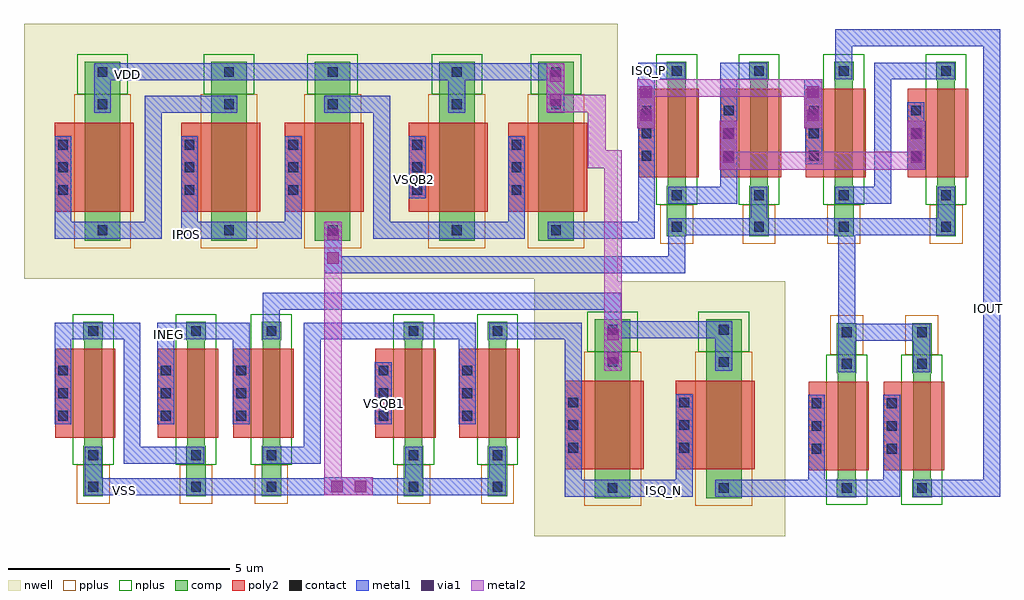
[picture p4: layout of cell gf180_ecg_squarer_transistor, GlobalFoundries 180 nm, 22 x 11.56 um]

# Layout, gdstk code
from math import pi, radians
import gdstk
lib = gdstk.Library(unit=1e-6, precision=1e-09)
def R(c, l, rs):  # rectangles x0, y0, x1, y1
    for r in rs: c.add(gdstk.rectangle(r[:2], r[2:], *l))
def A(c, l, x, y, w, h, nx, ny, dx, dy):  # array of equal rectangles
    R(c, l, [(x+i*dx, y+j*dy, x+i*dx+w, y+j*dy+h) for i in range(nx) for j in range(ny)])
def P(c, l, *ps):  # polygons
    for p in ps: c.add(gdstk.Polygon(p, *l))
nwell = (21, 0)
comp = (22, 0)
poly2 = (30, 0)
pplus = (31, 0)
nplus = (32, 0)
contact = (33, 0)
metal1 = (34, 0)
via1 = (35, 0)
metal2 = (36, 0)

pfet_10 = lib.new_cell('pfet$10')
R(pfet_10, nwell, [(-1.32,-0.99,4.43,2.17)])
R(pfet_10, comp, [(-0.46,0,3.57,0.8)])
R(pfet_10, poly2, [(0.19,-0.3,2.19,1.48)])
R(pfet_10, pplus, [(-0.63,-0.24,2.84,1.04)])
R(pfet_10, nplus, [(2.84,-0.17,3.74,0.97)])
A(pfet_10, contact, 0.57, 1.18, 0.22, 0.22, 3, 1, 0.51, 0)
R(pfet_10, contact, [(-0.34,0.29,-0.12,0.51), (2.5,0.29,2.72,0.51), (3.23,0.29,3.45,0.51)])
R(pfet_10, metal1, [(-0.42,0.21,-0.04,0.59), (2.42,0.21,2.8,0.59), (3.15,0.21,3.53,0.59), (0.49,1.1,1.89,1.48)])

nfet_8 = lib.new_cell('nfet$8')
P(nfet_8, comp, [(-0.42,-0.02),(-0.42,0.42),(0,0.42),(0,0.4),(2.38,0.4),(2.38,0.42),(3.51,0.42),(3.51,-0.02),(2.38,-0.02),(2.38,0),(0,0),(0,-0.02)])
R(nfet_8, poly2, [(0.19,-0.66,2.19,0.7)])
R(nfet_8, pplus, [(2.8,-0.17,3.68,0.57)])
R(nfet_8, nplus, [(-0.59,-0.26,2.8,0.66)])
A(nfet_8, contact, 0.57, -0.59, 0.22, 0.22, 3, 1, 0.51, 0)
R(nfet_8, contact, [(-0.32,0.09,-0.1,0.31), (2.48,0.09,2.7,0.31), (3.19,0.09,3.41,0.31)])
R(nfet_8, metal1, [(0.49,-0.67,1.89,-0.29), (-0.4,0.01,-0.02,0.39), (2.4,0.01,2.78,0.39), (3.11,0.01,3.49,0.39)])

via_dev_39 = lib.new_cell('via_dev$39')
R(via_dev_39, metal1, [(0,0,0.4,1.1)])
R(via_dev_39, via1, [(0.07,0.155,0.33,0.415), (0.07,0.685,0.33,0.945)])
R(via_dev_39, metal2, [(0,0,0.4,1.1)])

gf180_ecg_squarer_transi = lib.new_cell('gf180_ecg_squarer_transistor')
R(gf180_ecg_squarer_transi, nwell, [(11.26,5.605,13.145,5.665)])
gf180_ecg_squarer_transi.add(gdstk.FlexPath([(0.645,7.665),(0.645,6.755),(1.535,6.755)], 0.38, ends="flush", simple_path=True, layer=34, datatype=0))  # metal1
gf180_ecg_squarer_transi.add(gdstk.FlexPath([(11.755,10.325),(1.535,10.325),(1.535,9.595)], 0.38, ends="flush", simple_path=True, layer=34, datatype=0))  # metal1
gf180_ecg_squarer_transi.add(gdstk.FlexPath([(4.385,6.755),(3.495,6.755),(3.495,7.665)], 0.38, ends="flush", simple_path=True, layer=34, datatype=0))  # metal1
gf180_ecg_squarer_transi.add(gdstk.FlexPath([(4.385,9.595),(2.675,9.595),(2.675,6.755),(1.535,6.755)], 0.38, ends="flush", simple_path=True, layer=34, datatype=0))  # metal1
gf180_ecg_squarer_transi.add(gdstk.FlexPath([(4.385,6.755),(5.83,6.755),(5.83,7.665)], 0.38, ends="flush", simple_path=True, layer=34, datatype=0))  # metal1
gf180_ecg_squarer_transi.add(gdstk.FlexPath([(6.72,9.595),(7.83,9.595),(7.83,6.755),(9.52,6.755)], 0.38, ends="flush", simple_path=True, layer=34, datatype=0))  # metal1
gf180_ecg_squarer_transi.add(gdstk.FlexPath([(9.52,9.595),(9.52,10.215)], 0.38, ends="flush", simple_path=True, layer=34, datatype=0))  # metal1
gf180_ecg_squarer_transi.add(gdstk.FlexPath([(11.755,9.595),(11.755,10.135)], 0.38, ends="flush", simple_path=True, layer=34, datatype=0))  # metal1
gf180_ecg_squarer_transi.add(gdstk.FlexPath([(9.52,6.755),(10.865,6.755),(10.865,7.665)], 0.38, ends="flush", simple_path=True, layer=34, datatype=0))  # metal1
gf180_ecg_squarer_transi.add(gdstk.FlexPath([(11.755,6.755),(13.795,6.755),(13.795,10.345),(14.475,10.345)], 0.38, ends="flush", simple_path=True, layer=34, datatype=0))  # metal1
gf180_ecg_squarer_transi.add(gdstk.FlexPath([(14.475,7.545),(15.65,7.545),(15.65,10.345),(16.33,10.345)], 0.38, ends="flush", simple_path=True, layer=34, datatype=0))  # metal1
gf180_ecg_squarer_transi.add(gdstk.FlexPath([(20.545,7.545),(20.545,6.835),(14.475,6.835)], 0.38, ends="flush", simple_path=True, layer=34, datatype=0))  # metal1
gf180_ecg_squarer_transi.add(gdstk.FlexPath([(0.645,3.595),(0.645,4.485),(2.2,4.485),(2.2,1.685),(3.64,1.685)], 0.38, ends="flush", simple_path=True, layer=34, datatype=0))  # metal1
gf180_ecg_squarer_transi.add(gdstk.FlexPath([(2.96,3.595),(2.96,4.485),(4.66,4.485),(4.66,3.555)], 0.38, ends="flush", simple_path=True, layer=34, datatype=0))  # metal1
gf180_ecg_squarer_transi.add(gdstk.FlexPath([(5.34,1.685),(6.265,1.685),(6.265,4.485),(8.545,4.485)], 0.38, ends="flush", simple_path=True, layer=34, datatype=0))  # metal1
gf180_ecg_squarer_transi.add(gdstk.FlexPath([(1.325,1.685),(1.325,0.975),(10.47,0.975)], 0.38, ends="flush", simple_path=True, layer=34, datatype=0))  # metal1
gf180_ecg_squarer_transi.add(gdstk.FlexPath([(5.34,4.485),(5.34,5.16),(13.03,5.16),(13.03,4.515)], 0.38, ends="flush", simple_path=True, layer=34, datatype=0))  # metal1
gf180_ecg_squarer_transi.add(gdstk.FlexPath([(6.72,6.755),(6.72,5.975),(14.475,5.975),(14.475,6.835),(14.475,6.835),(14.475,6.835)], 0.38, ends="flush", simple_path=True, layer=34, datatype=0))  # metal1
gf180_ecg_squarer_transi.add(gdstk.FlexPath([(16.33,7.545),(16.33,7.025)], 0.38, ends="flush", simple_path=True, layer=34, datatype=0))  # metal1
gf180_ecg_squarer_transi.add(gdstk.FlexPath([(18.24,7.545),(19.12,7.545),(19.12,10.345),(20.675,10.345)], 0.38, ends="flush", simple_path=True, layer=34, datatype=0))  # metal1
gf180_ecg_squarer_transi.add(gdstk.FlexPath([(18.305,4.455),(18.305,6.835)], 0.38, ends="flush", simple_path=True, layer=34, datatype=0))  # metal1
gf180_ecg_squarer_transi.add(gdstk.FlexPath([(20,3.745),(20,4.455),(18.305,4.455),(18.305,3.745)], 0.38, ends="flush", simple_path=True, layer=34, datatype=0))  # metal1
gf180_ecg_squarer_transi.add(gdstk.FlexPath([(17.625,1.835),(17.625,0.945)], 0.38, ends="flush", simple_path=True, layer=34, datatype=0))  # metal1
gf180_ecg_squarer_transi.add(gdstk.FlexPath([(15.535,0.945),(19.32,0.945),(19.32,2.3)], 0.38, ends="flush", simple_path=True, layer=34, datatype=0))  # metal1
gf180_ecg_squarer_transi.add(gdstk.FlexPath([(13.03,3.785),(13.03,4.515),(15.535,4.515),(15.535,3.785)], 0.38, ends="flush", simple_path=True, layer=34, datatype=0))  # metal1
gf180_ecg_squarer_transi.add(gdstk.FlexPath([(13.03,0.945),(14.645,0.945),(14.645,1.855)], 0.38, ends="flush", simple_path=True, layer=34, datatype=0))  # metal1
gf180_ecg_squarer_transi.add(gdstk.FlexPath([(10.435,4.485),(12.14,4.485),(12.14,0.945),(13.03,0.945)], 0.38, ends="flush", simple_path=True, layer=34, datatype=0))  # metal1
gf180_ecg_squarer_transi.add(gdstk.FlexPath([(10.435,1.685),(10.435,1.165)], 0.38, ends="flush", simple_path=True, layer=34, datatype=0))  # metal1
gf180_ecg_squarer_transi.add(gdstk.FlexPath([(9.755,3.595),(9.755,4.485),(8.545,4.485)], 0.38, ends="flush", simple_path=True, layer=34, datatype=0))  # metal1
gf180_ecg_squarer_transi.add(gdstk.FlexPath([(8.545,1.685),(8.545,1.165)], 0.38, ends="flush", simple_path=True, layer=34, datatype=0))  # metal1
gf180_ecg_squarer_transi.add(gdstk.FlexPath([(18.24,10.345),(18.24,11.095),(21.57,11.095),(21.57,0.945),(20,0.945)], 0.38, ends="flush", simple_path=True, layer=34, datatype=0))  # metal1
gf180_ecg_squarer_transi.add(gdstk.FlexPath([(6.73,6.13),(6.73,0.975)], 0.4, ends="flush", simple_path=True, layer=36, datatype=0))  # metal2
gf180_ecg_squarer_transi.add(gdstk.FlexPath([(13.795,9.96),(17.58,9.96)], 0.4, ends="flush", simple_path=True, layer=36, datatype=0))  # metal2
gf180_ecg_squarer_transi.add(gdstk.FlexPath([(15.65,8.325),(19.85,8.325)], 0.4, ends="flush", simple_path=True, layer=36, datatype=0))  # metal2
gf180_ecg_squarer_transi.add(gdstk.FlexPath([(11.755,9.615),(12.675,9.615),(12.675,8.355),(13.04,8.355),(13.04,4.41)], 0.4, ends="flush", simple_path=True, layer=36, datatype=0))  # metal2
gf180_ecg_squarer_transi.add(gdstk.Reference(pfet_10, (1.935,6.985), rotation=pi/2))
gf180_ecg_squarer_transi.add(gdstk.Reference(nfet_8, (1.125,4.275), rotation=3*pi/2))
gf180_ecg_squarer_transi.add(gdstk.Reference(pfet_10, (4.785,6.985), rotation=pi/2))
gf180_ecg_squarer_transi.add(gdstk.Reference(pfet_10, (7.12,6.985), rotation=pi/2))
gf180_ecg_squarer_transi.add(gdstk.Reference(pfet_10, (9.92,6.985), rotation=pi/2))
gf180_ecg_squarer_transi.add(gdstk.Reference(pfet_10, (12.155,6.985), rotation=pi/2))
gf180_ecg_squarer_transi.add(gdstk.Reference(nfet_8, (14.275,10.135), rotation=3*pi/2))
gf180_ecg_squarer_transi.add(gdstk.Reference(nfet_8, (16.13,10.135), rotation=3*pi/2))
gf180_ecg_squarer_transi.add(gdstk.Reference(nfet_8, (3.44,4.275), rotation=3*pi/2))
gf180_ecg_squarer_transi.add(gdstk.Reference(nfet_8, (5.14,4.275), rotation=3*pi/2))
gf180_ecg_squarer_transi.add(gdstk.Reference(pfet_10, (13.43,1.175), rotation=pi/2))
gf180_ecg_squarer_transi.add(gdstk.Reference(pfet_10, (15.935,1.175), rotation=pi/2))
gf180_ecg_squarer_transi.add(gdstk.Reference(via_dev_39, (11.545,9.415)))
gf180_ecg_squarer_transi.add(gdstk.Reference(via_dev_39, (6.93,6.945), rotation=pi))
gf180_ecg_squarer_transi.add(gdstk.Reference(via_dev_39, (6.53,1.185), rotation=3*pi/2))
gf180_ecg_squarer_transi.add(gdstk.Reference(nfet_8, (18.04,10.135), rotation=3*pi/2))
gf180_ecg_squarer_transi.add(gdstk.Reference(nfet_8, (20.345,10.135), rotation=3*pi/2))
gf180_ecg_squarer_transi.add(gdstk.Reference(via_dev_39, (17.35,9.06)))
gf180_ecg_squarer_transi.add(gdstk.Reference(via_dev_39, (13.585,9.06)))
gf180_ecg_squarer_transi.add(gdstk.Reference(via_dev_39, (19.675,9.225), x_reflection=True))
gf180_ecg_squarer_transi.add(gdstk.Reference(via_dev_39, (15.44,9.225), x_reflection=True))
gf180_ecg_squarer_transi.add(gdstk.Reference(nfet_8, (19.8,1.155), rotation=pi/2, x_reflection=True))
gf180_ecg_squarer_transi.add(gdstk.Reference(nfet_8, (18.105,1.155), rotation=pi/2, x_reflection=True))
gf180_ecg_squarer_transi.add(gdstk.Reference(via_dev_39, (12.84,3.595)))
gf180_ecg_squarer_transi.add(gdstk.Reference(nfet_8, (10.235,4.275), rotation=3*pi/2))
gf180_ecg_squarer_transi.add(gdstk.Reference(nfet_8, (8.345,4.275), rotation=3*pi/2))
gf180_ecg_squarer_transi.add(gdstk.Label('VDD', (2.105,10.275), layer=34, texttype=10))
gf180_ecg_squarer_transi.add(gdstk.Label('VSS', (2.04,0.89), layer=34, texttype=10))
gf180_ecg_squarer_transi.add(gdstk.Label('INEG', (3.015,4.41), layer=34, texttype=10))
gf180_ecg_squarer_transi.add(gdstk.Label('IPOS', (3.425,6.66), layer=34, texttype=10))
gf180_ecg_squarer_transi.add(gdstk.Label('VSQB2', (8.575,7.91), layer=34, texttype=10))
gf180_ecg_squarer_transi.add(gdstk.Label('ISQ_P', (13.845,10.345), layer=34, texttype=10))
gf180_ecg_squarer_transi.add(gdstk.Label('ISQ_N', (14.17,0.885), layer=34, texttype=10))
gf180_ecg_squarer_transi.add(gdstk.Label('VSQB1', (7.89,2.845), layer=34, texttype=10))
gf180_ecg_squarer_transi.add(gdstk.Label('IOUT', (21.505,4.99), layer=34, texttype=10))

lib.write_gds('gf180_ecg_squarer_transistor.gds')
